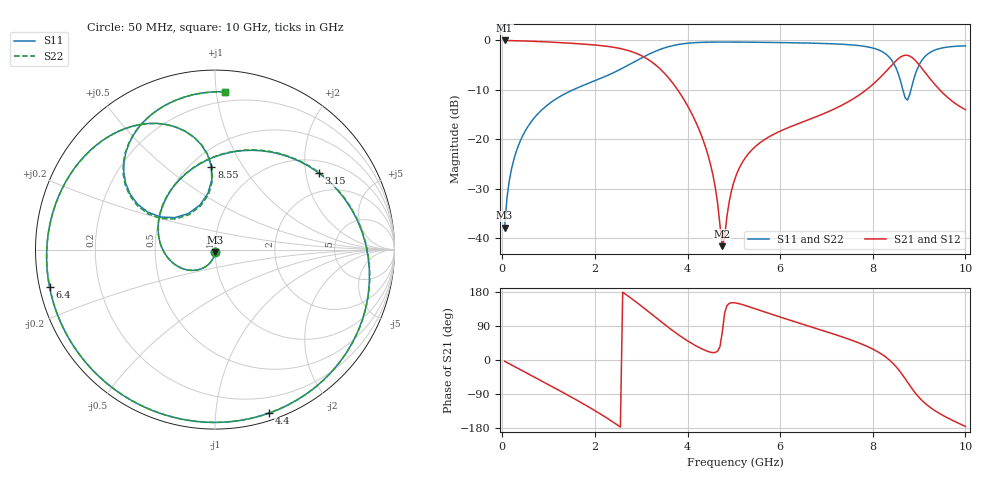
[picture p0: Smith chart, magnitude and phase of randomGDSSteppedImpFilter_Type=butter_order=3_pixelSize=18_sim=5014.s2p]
! freq	dB(S11)	phase(S11)	dB(S12)	phase(S12)
!  dB(S21)	phase(S21)	dB(S22)	phase(S22)
!S-par simulation data
#  GHz  S  DB  R 50
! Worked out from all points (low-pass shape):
!   200 points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, 50 MHz to 10 GHz, reference 50 ohm
!   highest |S21| = -0.01 dB at 50 MHz (marker M1); lowest = -41.6 dB at 4.75 GHz (marker M2)
!   |S21| within 3 dB of the highest: start of sweep to 2.988 GHz; 8.692 GHz to 8.75 GHz (58.1 MHz wide, 0.666 % of centre)
!   lowest |S11| = -37.8 dB at 50 MHz (marker M3), VSWR 1.03, Z = 49.9 - j1.28 ohm
!   |S11| at or under -10 dB: start of sweep to 1.522 GHz; 8.65 GHz to 8.824 GHz (173.3 MHz wide, 1.98 % of centre)
!   |S22| runs from -37.8 to -0.3 dB; largest |S21 - S12| = 0
!   S11 on the Smith chart (normalised r, x): 50 MHz: 1.00, -0.03; 3.15 GHz: 1.34, +2.38; 4.4 GHz: 0.06, -1.38; 6.4 GHz: 0.03, -0.11; 8.55 GHz: 0.63, +0.74; 10 GHz: 0.13, +1.06
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0.05  -37.83 -92.3  -0.01 -3.3  -0.01 -3.3  -37.83 -92.3
0.2  -25.93 -102.9  -0.04 -13.1  -0.04 -13.1  -25.93 -102.9
0.5  -18.21 -123.1  -0.11 -32.6  -0.11 -32.6  -18.22 -123.0
1.15  -11.88 -165.8  -0.39 -75.1  -0.39 -75.1  -11.88 -165.5
1.75  -9.08 153.3  -0.74 -115.7  -0.74 -115.7  -9.08 153.7
2.5  -6.06 96.0  -1.55 -172.6  -1.55 -172.6  -6.06 96.7
3.15  -2.86 36.4  -3.85 128.3  -3.85 128.3  -2.86 37.1
3.4  -1.84 11.9  -5.68 103.9  -5.68 103.9  -1.85 12.6
3.8  -0.82 -25.6  -10.15 67.0  -10.15 67.0  -0.83 -25.0
4.4  -0.36 -71.8  -21.87 24.5  -21.87 24.5  -0.36 -71.3
4.6  -0.33 -84.5  -29.76 20.0  -29.76 20.0  -0.33 -84.0
4.75  -0.33 -93.3  -41.55 72.6  -41.55 72.6  -0.33 -92.9
5.05  -0.34 -109.3  -27.25 150.3  -27.25 150.3  -0.34 -109.0
5.5  -0.37 -130.6  -21.14 133.7  -21.14 133.7  -0.37 -130.3
6.4  -0.49 -167.3  -16.78 97.7  -16.78 97.7  -0.49 -167.1
6.7  -0.55 -178.8  -15.70 86.2  -15.70 86.2  -0.56 -178.5
7.6  -0.95 145.5  -11.67 49.7  -11.67 49.7  -0.95 145.6
8.35  -3.33 104.3  -5.60 0.9  -5.60 0.9  -3.35 104.1
8.55  -6.71 92.5  -3.70 -24.4  -3.70 -24.4  -6.77 92.1
8.75  -12.06 126.3  -3.01 -58.5  -3.01 -58.5  -12.31 126.7
9.15  -3.04 136.0  -6.70 -116.5  -6.70 -116.5  -3.06 136.6
10  -1.10 86.3  -13.97 -175.3  -13.97 -175.3  -1.11 86.2
